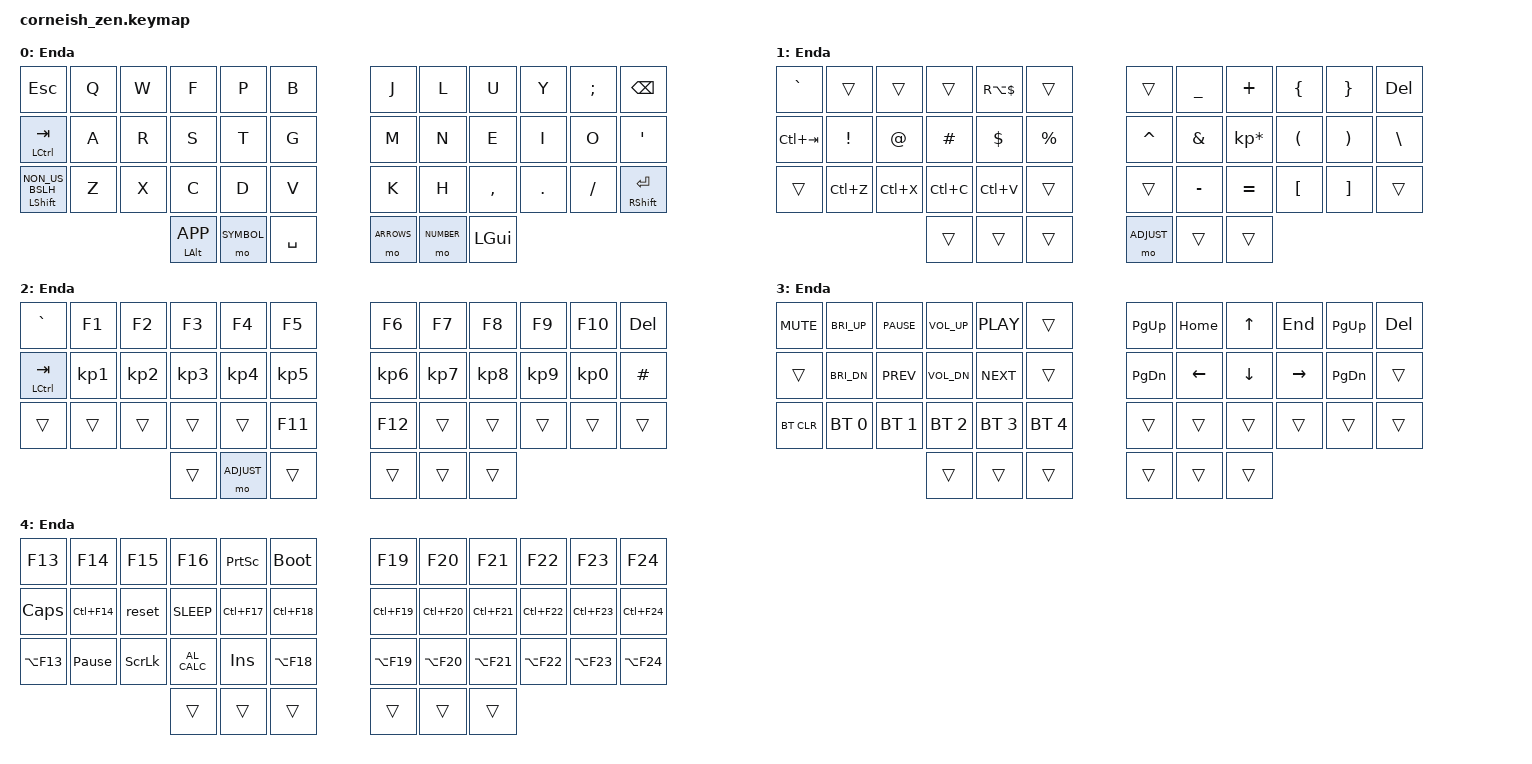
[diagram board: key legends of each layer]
/*
*
* Copyright (c) 2021 Darryl deHaan
* SPDX-License-Identifier: MIT
*
* Modified 2022 by Enda Walsh
*
*/

#include <behaviors.dtsi>
#include <dt-bindings/zmk/keys.h>
#include <dt-bindings/zmk/bt.h>

/ {
  chosen {
    zmk,matrix_transform = &default_transform;
  };
};


#define BASE 0
#define SYMBOL 1
#define NUMBER 2
#define ARROWS 3
#define ADJUST 4

/ {
        keymap {
                compatible = "zmk,keymap";

                default_layer {
                        label = "Enda";
//  -------------------------------------------------------     -----------------------------------------------
// | ESC          |  Q  |  W  |  F          |  P     |  B  |   |  J    |  L   |  U   |  Y  |  ;  | BSPC        |
// | TAB (CTRL)   |  A  |  R  |  S          |  T     |  G  |   |  M    |  N   |  E   |  I  |  O  | '           |
// | BSLH (RSHFT) |  Z  |  X  |  C          |  D     |  V  |   |  K    |  H   |  ,   |  .  |  /  | ENT (RSHFT) |
//                            | MENU (LALT) | SYMBOL | SPC |   |  ARWS |  RSE |  GUI |
                        bindings = <
   &kp ESC               &kp Q &kp W &kp F          &kp P      &kp B        &kp J      &kp L      &kp U     &kp Y   &kp SEMI &kp BSPC
   &mt LCTRL TAB         &kp A &kp R &kp S          &kp T      &kp G        &kp M      &kp N      &kp E     &kp I   &kp O    &kp SQT
   &mt LSHFT NON_US_BSLH &kp Z &kp X &kp C          &kp D      &kp V        &kp K      &kp H      &kp COMMA &kp DOT &kp FSLH &mt RSHFT RET
                                     &mt LALT K_APP &mo SYMBOL &kp SPACE    &mo ARROWS &mo NUMBER &kp LGUI
                        >;
                };
                
                symbol_layer {
                        label = "Enda";
//  -------------------------------------------     ---------------------------------------
// | GRAVE   |      |     |      |  €    |     |   |     |  _      |  +  |  {  |  }  | DEL |
// | CTRLTAB |  !   |  "  |  £   |  $    |  %  |   |  ^  |  &      |  *  |  (  |  )  |  #  |
// |         | UNDO | CUT | COPY | PASTE |     |   |     |  -      |  =  |  [  |  ]  |     |
//                        |      |       |     |   |     | ADJUST  |     |
                        bindings = <
   &kp GRAVE   &trans    &trans    &trans    &kp RA(DLLR) &trans       &trans     &kp UNDER &kp PLUS        &kp LBRC &kp RBRC &kp DEL
   &kp LC(TAB) &kp EXCL  &kp AT    &kp HASH  &kp DLLR     &kp PRCNT    &kp CARET  &kp AMPS  &kp KP_MULTIPLY &kp LPAR &kp RPAR &kp BSLH
   &trans      &kp LC(Z) &kp LC(X) &kp LC(C) &kp LC(V)    &trans       &trans     &kp MINUS &kp EQUAL       &kp LBKT &kp RBKT &trans
                    	           &trans    &trans       &trans       &mo ADJUST &trans    &trans
                        >;
                };

                number_layer {
                        label = "Enda";
//  -------------------------------------     --------------------------------
// | GRAVE      | F1 | F2 | F3 | F4     | F5  |   | F6  | F7 | F8 | F9 | F10 | DEL |
// | TAB (CTRL) |  1 |  2 |  3 |  4     |  5  |   |  6  |  7 |  8 |  9 |   0 |     |
// |            |    |    |    |        | F11 |   | F12 |    |    |    |     |     |
//                        |    | ADJUST |     |   |     |    |    |
                        bindings = <
   &kp GRAVE     &kp F1    &kp F2    &kp F3    &kp F4     &kp F5    &kp F6    &kp F7    &kp F8    &kp F9    &kp F10   &kp DEL
   &mt LCTRL TAB &kp KP_N1 &kp KP_N2 &kp KP_N3 &kp KP_N4  &kp KP_N5 &kp KP_N6 &kp KP_N7 &kp KP_N8 &kp KP_N9 &kp KP_N0 &kp HASH
   &trans        &trans    &trans    &trans    &trans     &kp F11   &kp F12   &trans    &trans    &trans    &trans    &trans
                                     &trans    &mo ADJUST &trans    &trans    &trans    &trans
                        >;
                };
                
                arrows_layer {
                        label = "Enda";
//  -------------------------------------------      ------------------------------------------
// | MUTE | BRIUP | PAUSE | VOLUP | PLAY |     |    | PGUP | HOME | UP   | END   | PGUP | DEL |
// |      | BRIDN | PREV  | VOLDN | NEXT |     |    | PGDN | LEFT | DOWN | RIGHT | PGDN |     |
// | BTCLR| BT1   | BT2   | BT3   | BT4  | BT5 |    |      |      |      |       |      |     |
//                |       |       |      |     |    |      |      |
                        bindings = <
   &kp C_MUTE &kp C_BRI_UP &kp C_PAUSE  &kp C_VOL_UP &kp C_PLAY   &trans          &kp PG_UP &kp HOME &kp UP   &kp END   &kp PG_UP &kp DEL
   &trans     &kp C_BRI_DN &kp C_PREV   &kp C_VOL_DN &kp C_NEXT   &trans          &kp PG_DN &kp LEFT &kp DOWN &kp RIGHT &kp PG_DN &trans
   &bt BT_CLR &bt BT_SEL 0 &bt BT_SEL 1 &bt BT_SEL 2 &bt BT_SEL 3 &bt BT_SEL 4    &trans    &trans   &trans   &trans    &trans    &trans
                                        &trans       &trans       &trans          &trans    &trans   &trans
                        >;
                };

                adjust_layer {
                        label = "Enda";
//  ----------------------------------------------------      -----------------------------------------------------
// | F13    | F14    | F15    | F16   | PRTSCN | F18    |    | F19    | F20    | F21    | F22    | F23    | F24    |
// | CAPS   | CTLF14 | RESET  | SLEEP | CTLF17 | CTLF18 |    | CTLF19 | CTLF20 | CTLF21 | CTLF22 | CTLF23 | CTLF24 |
// | ALTF13 | PAUSE  | SCLLCK | CALC  | INSERT | ALTF18 |    | ALTF19 | ALTF20 | ALTF21 | ALTF22 | ALTF23 | ALTF24 |
//                            |       |        |        |    |        |        |        |
                        bindings = <
   &kp F13     &kp F14         &kp F15  &kp F16       &kp PSCRN   &bootloader    &kp F19     &kp F20     &kp F21     &kp F22     &kp F23     &kp F24
   &kp CAPS    &kp LC(F14)     &reset   &kp C_SLEEP   &kp LC(F17) &kp LC(F18)    &kp LC(F19) &kp LC(F20) &kp LC(F21) &kp LC(F22) &kp LC(F23) &kp LC(F24)
   &kp LA(F13) &kp PAUSE_BREAK &kp SLCK &kp C_AL_CALC &kp INS     &kp LA(F18)    &kp LA(F19) &kp LA(F20) &kp LA(F21) &kp LA(F22) &kp LA(F23) &kp LA(F24)
                          	        &trans        &trans      &trans         &trans      &trans      &trans
                        >;
                };

        };
};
